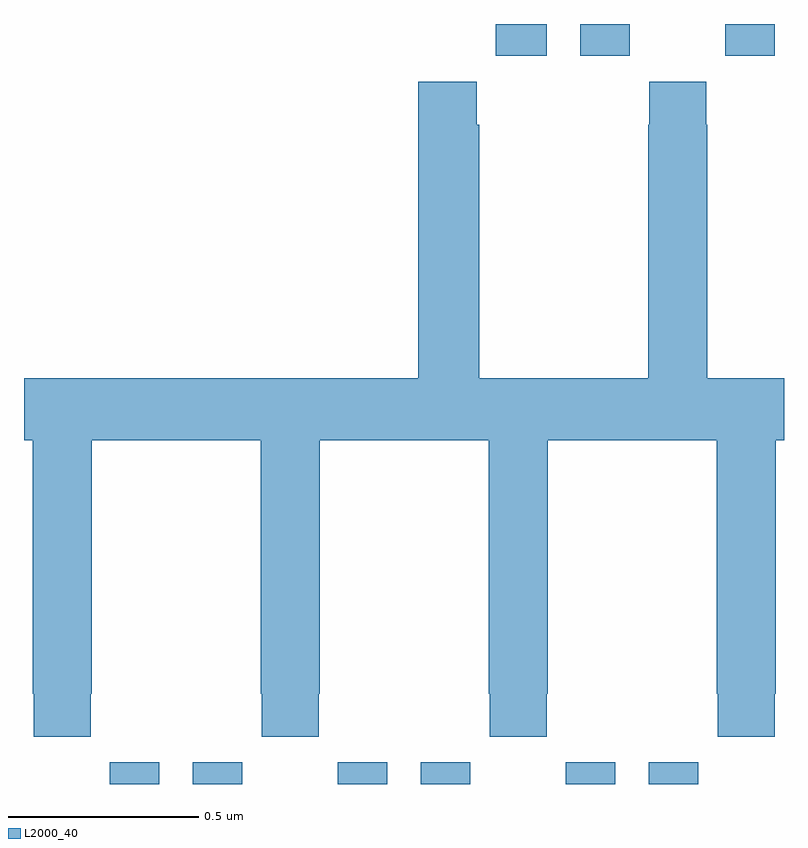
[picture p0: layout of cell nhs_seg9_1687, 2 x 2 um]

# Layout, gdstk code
import gdstk
lib = gdstk.Library(unit=1e-6, precision=1e-09)
def R(c, l, rs):  # rectangles x0, y0, x1, y1
    for r in rs: c.add(gdstk.rectangle(r[:2], r[2:], *l))
def P(c, l, *ps):  # polygons
    for p in ps: c.add(gdstk.Polygon(p, *l))
L2000_40 = (2000, 40)

nhs_seg9_1687 = lib.new_cell('nhs_seg9_1687')
R(nhs_seg9_1687, L2000_40, [(131.226,1211.5,131.356,1211.557), (131.444,1211.5,131.574,1211.557), (131.826,1211.5,131.956,1211.557), (132.044,1211.5,132.174,1211.557), (132.426,1211.5,132.556,1211.557), (132.644,1211.5,132.774,1211.557), (132.242,1213.416,132.376,1213.5), (132.464,1213.416,132.594,1213.5), (132.846,1213.416,132.976,1213.5)])
P(nhs_seg9_1687, L2000_40, [(131.175,1211.737),(131.178,1211.737),(131.178,1212.404),(131.623,1212.404),(131.623,1211.737),(131.625,1211.737),(131.625,1211.625),(131.775,1211.625),(131.775,1211.737),(131.778,1211.737),(131.778,1212.404),(132.223,1212.404),(132.223,1211.737),(132.225,1211.737),(132.225,1211.625),(132.375,1211.625),(132.375,1211.737),(132.378,1211.737),(132.378,1212.404),(132.823,1212.404),(132.823,1211.737),(132.825,1211.737),(132.825,1211.625),(132.975,1211.625),(132.975,1211.737),(132.978,1211.737),(132.978,1212.404),(133,1212.404),(133,1212.568),(132.798,1212.568),(132.798,1213.235),(132.795,1213.235),(132.795,1213.348),(132.645,1213.348),(132.645,1213.235),(132.643,1213.235),(132.643,1212.568),(132.198,1212.568),(132.198,1213.235),(132.191,1213.235),(132.191,1213.348),(132.038,1213.348),(132.038,1212.568),(131,1212.568),(131,1212.404),(131.023,1212.404),(131.023,1211.737),(131.025,1211.737),(131.025,1211.625),(131.175,1211.625)])

lib.write_gds('nhs_seg9_1687.gds')
